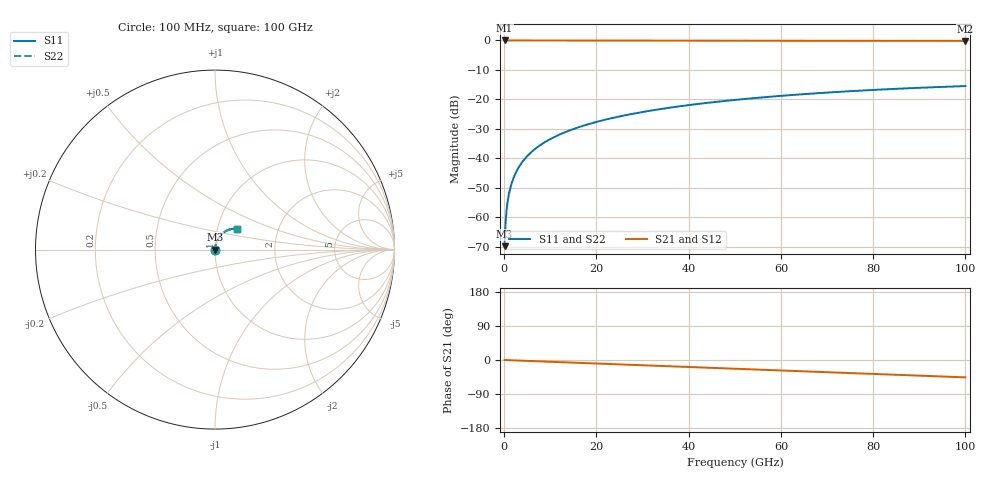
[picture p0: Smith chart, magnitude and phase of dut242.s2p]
! Touchstone file exported from HFSS 2026.1.0
!  File:  C:/ffzhzh/LocalFiles/Ansys_Project_Files/temp_train_TSV_242_1783508190_31944.aedt
!  Generated:  06:57:45 PM Jul  8, 2026
!  Design:  TSV
!  Project:  temp_train_TSV_242_1783508190_31944
! Variables:
!  h_bsmrdl = 2um
!  h_ox = 20um
!  h_rdl = 5um
!  h_sub = 90.16um
!  h_tmrdl = 5um
!  h_tsv = 90.16um
!  h_via = 3um
!  l_bsmrdl = 300um
!  l_sub = 415.98um
!  l_tmrdl = 200um
!  m_sub = 200um
!  pitch = 45.31um
!  r_tsv = 7.99um
!  s_tmrdl = 10um
!  w_bsmrdl = 18um
!  w_sub = 500um
!  w_tmrdl = 12um
!  x_tsv_center1 = 206um
!  x_tsv_center2 = 524um
!  x_tsv_center3 = 736um
!  x_tsv_center4 = 1054um
!  x_tsv_center5 = 1266um
!  x_tsv_center6 = 1584um
# GHz S MA R 50.000000
! Terminal data exported
! Port[1] = TSV1_1_T1
! Port[2] = TSV1_1_T2
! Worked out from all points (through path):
!   1000 points, 100 MHz to 100 GHz, reference 50 ohm
!   highest |S21| = 0.00 dB at 100 MHz (marker M1); lowest = -0.2 dB at 100 GHz (marker M2)
!   group delay of S21, straight-line fit = 1.27 ps
!   lowest |S11| = -69.8 dB at 100 MHz (marker M3), VSWR 1.00, Z = 50 + j0.0255 ohm
!   |S11| at or under -10 dB: start of sweep to end of sweep
!   |S22| runs from -69.8 to -15.5 dB; largest |S21 - S12| = 5.4e-15
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0.1  0.0003221 52.2  0.9998 -0.0  0.9998 -0.0  0.0003221 52.2
! Gamma 0 0 0 0
! Port Impedance 50 0 50 0
0.4  0.00102 75.7  0.9998 -0.2  0.9998 -0.2  0.00102 75.7
0.7  0.001707 79.2  0.9997 -0.3  0.9997 -0.3  0.001707 79.2
0.8  0.001931 79.8  0.9997 -0.4  0.9997 -0.4  0.001931 79.8
1  0.002376 80.8  0.9996 -0.5  0.9996 -0.5  0.002376 80.8
1.3  0.003038 81.7  0.9996 -0.6  0.9996 -0.6  0.003038 81.7
1.7  0.00391 82.3  0.9995 -0.8  0.9995 -0.8  0.00391 82.3
2.3  0.005202 82.8  0.9994 -1.1  0.9994 -1.1  0.005202 82.8
3  0.006686 83.1  0.9993 -1.4  0.9993 -1.4  0.006686 83.1
3.8  0.008365 83.3  0.9992 -1.8  0.9992 -1.8  0.008365 83.3
4.8  0.01045 83.3  0.9991 -2.3  0.9991 -2.3  0.01045 83.3
6  0.01294 83.2  0.999 -2.8  0.999 -2.8  0.01294 83.2
8.8  0.01872 82.6  0.9987 -4.1  0.9987 -4.1  0.01872 82.6
12.4  0.02607 81.3  0.9984 -5.8  0.9984 -5.8  0.02607 81.3
16.8  0.03496 79.7  0.9979 -7.8  0.9979 -7.8  0.03496 79.7
24.2  0.04969 76.7  0.9969 -11.2  0.9969 -11.2  0.04969 76.7
33.4  0.06751 72.7  0.9956 -15.5  0.9956 -15.5  0.06751 72.7
41.2  0.08209 69.3  0.9943 -19.1  0.9943 -19.1  0.08209 69.3
50.1  0.09802 65.4  0.9926 -23.1  0.9926 -23.1  0.09802 65.4
66.7  0.1253 58.0  0.9892 -30.7  0.9892 -30.7  0.1253 58.0
83.4  0.149 50.5  0.9855 -38.3  0.9855 -38.3  0.149 50.6
100  0.1681 43.2  0.9821 -45.8  0.9821 -45.8  0.1681 43.2
